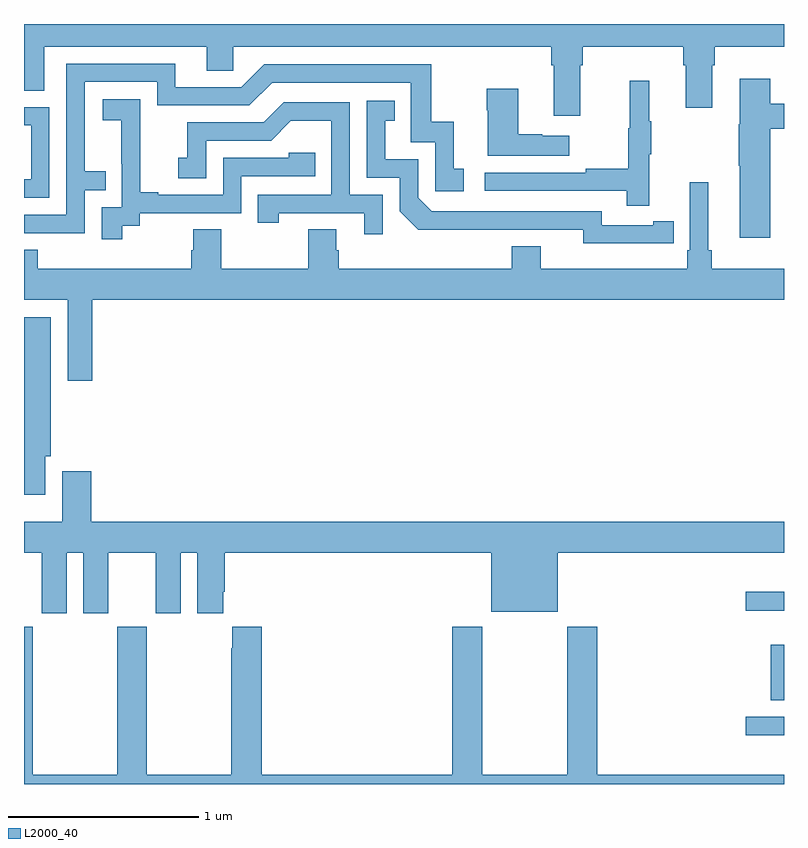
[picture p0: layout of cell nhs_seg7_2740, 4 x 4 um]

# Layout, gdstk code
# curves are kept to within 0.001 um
import gdstk
lib = gdstk.Library(unit=1e-6, precision=1e-09)
def R(c, l, rs):  # rectangles x0, y0, x1, y1
    for r in rs: c.add(gdstk.rectangle(r[:2], r[2:], *l))
def P(c, l, *ps):  # polygons
    for p in ps: c.add(gdstk.Polygon(p, *l))
L2000_40 = (2000, 40)

nhs_seg7_2740 = lib.new_cell('nhs_seg7_2740')
R(nhs_seg7_2740, L2000_40, [(290.799,1066.257,291,1066.353), (290.93,1066.442,291,1066.732), (290.799,1066.911,291,1067.011)])
P(nhs_seg7_2740, L2000_40, [(289.927,1069.784),(289.94,1069.784),(289.94,1069.88),(290.471,1069.88),(290.471,1069.784),(290.483,1069.784),(290.483,1069.56),(290.623,1069.56),(290.623,1069.784),(290.636,1069.784),(290.636,1069.88),(291,1069.88),(291,1070),(287,1070),(287,1069.648),(287.107,1069.648),(287.107,1069.88),(287.963,1069.88),(287.963,1069.753),(288.102,1069.753),(288.102,1069.88),(289.775,1069.88),(289.775,1069.784),(289.787,1069.784),(289.787,1069.518),(289.927,1069.518)],
  [(287.319,1069.125),(287.429,1069.125),(287.429,1069.226),(287.319,1069.226),(287.319,1069.695),(287.7,1069.695),(287.7,1069.572),(288.186,1069.572),(288.306,1069.692),(289.035,1069.692),(289.035,1069.377),(289.164,1069.377),(289.164,1069.119),(289.315,1069.119),(289.315,1069.239),(289.262,1069.239),(289.262,1069.486),(289.144,1069.486),(289.144,1069.788),(288.264,1069.788),(288.144,1069.668),(287.797,1069.668),(287.797,1069.791),(287.223,1069.791),(287.223,1068.996),(287,1068.996),(287,1068.9),(287.319,1068.9)],
  [(290.927,1069.45),(291,1069.45),(291,1069.579),(290.927,1069.579),(290.927,1069.711),(290.768,1069.711),(290.768,1069.473),(290.761,1069.473),(290.761,1069.255),(290.768,1069.255),(290.768,1068.876),(290.927,1068.876)],
  [(290.291,1069.315),(290.302,1069.315),(290.302,1069.489),(290.291,1069.489),(290.291,1069.702),(290.188,1069.702),(290.188,1069.452),(290.181,1069.452),(290.181,1069.238),(289.957,1069.238),(289.957,1069.218),(289.425,1069.218),(289.425,1069.122),(290.173,1069.122),(290.173,1069.044),(290.291,1069.044)],
  [(289.87,1069.411),(289.727,1069.411),(289.727,1069.421),(289.6,1069.421),(289.6,1069.66),(289.435,1069.66),(289.435,1069.547),(289.442,1069.547),(289.442,1069.307),(289.87,1069.307)],
  [(287.518,1068.937),(287.61,1068.937),(287.61,1069.005),(288.144,1069.005),(288.144,1069.2),(288.533,1069.2),(288.533,1069.323),(288.393,1069.323),(288.393,1069.296),(288.048,1069.296),(288.048,1069.101),(287.707,1069.101),(287.707,1069.114),(287.612,1069.114),(287.612,1069.397),(287.613,1069.397),(287.613,1069.603),(287.415,1069.603),(287.415,1069.493),(287.513,1069.493),(287.513,1069.265),(287.514,1069.265),(287.514,1069.035),(287.409,1069.035),(287.409,1068.867),(287.518,1068.867)],
  [(290.312,1068.846),(290.42,1068.846),(290.42,1068.962),(290.312,1068.962),(290.312,1068.942),(290.04,1068.942),(290.04,1069.014),(289.146,1069.014),(289.074,1069.086),(289.074,1069.287),(288.901,1069.287),(288.901,1069.491),(288.95,1069.491),(288.95,1069.597),(288.804,1069.597),(288.804,1069.191),(288.978,1069.191),(288.978,1069.014),(289.076,1068.917),(289.944,1068.918),(289.944,1068.845)],
  [(288.888,1069.101),(288.714,1069.101),(288.714,1069.587),(288.368,1069.587),(288.263,1069.482),(287.86,1069.482),(287.86,1069.297),(287.811,1069.297),(287.811,1069.188),(287.958,1069.188),(287.958,1069.386),(288.3,1069.386),(288.404,1069.49),(288.618,1069.49),(288.618,1069.101),(288.229,1069.101),(288.229,1068.954),(288.34,1068.954),(288.34,1069.005),(288.791,1069.005),(288.791,1068.894),(288.888,1068.894)],
  [(287.133,1069.563),(287,1069.563),(287,1069.467),(287.037,1069.467),(287.037,1069.182),(287,1069.182),(287,1069.086),(287.133,1069.086)],
  [(287.36,1068.548),(291,1068.548),(291,1068.712),(290.621,1068.712),(290.621,1068.808),(290.602,1068.808),(290.602,1069.168),(290.505,1069.168),(290.505,1068.808),(290.492,1068.808),(290.492,1068.712),(289.72,1068.712),(289.72,1068.829),(289.568,1068.829),(289.568,1068.712),(288.656,1068.712),(288.656,1068.81),(288.643,1068.81),(288.643,1068.92),(288.496,1068.92),(288.496,1068.712),(288.039,1068.712),(288.039,1068.92),(287.891,1068.92),(287.891,1068.81),(287.879,1068.81),(287.879,1068.712),(287.072,1068.712),(287.072,1068.811),(287,1068.811),(287,1068.548),(287.231,1068.548),(287.231,1068.123),(287.36,1068.123)],
  [(287.113,1067.724),(287.14,1067.724),(287.14,1068.457),(287,1068.457),(287,1067.522),(287.113,1067.522)],
  [(287.224,1067.216),(287.312,1067.216),(287.312,1066.899),(287.443,1066.899),(287.443,1067.216),(287.693,1067.216),(287.693,1066.899),(287.824,1066.899),(287.824,1067.216),(287.912,1067.216),(287.912,1066.899),(288.049,1066.899),(288.049,1067.011),(288.056,1067.011),(288.056,1067.216),(289.46,1067.216),(289.46,1066.907),(289.81,1066.907),(289.81,1067.216),(291,1067.216),(291,1067.38),(287.354,1067.38),(287.354,1067.647),(287.201,1067.647),(287.201,1067.38),(287,1067.38),(287,1067.216),(287.093,1067.216),(287.093,1066.899),(287.224,1066.899)],
  [(291,1066.048),(290.018,1066.048),(290.018,1066.828),(289.858,1066.828),(289.858,1066.048),(289.413,1066.048),(289.413,1066.828),(289.253,1066.828),(289.253,1066.048),(288.251,1066.048),(288.251,1066.828),(288.095,1066.828),(288.095,1066.715),(288.091,1066.715),(288.091,1066.048),(287.646,1066.048),(287.646,1066.828),(287.491,1066.828),(287.491,1066.048),(287.046,1066.048),(287.046,1066.828),(287,1066.828),(287,1066),(291,1066)])

lib.write_gds('nhs_seg7_2740.gds')
